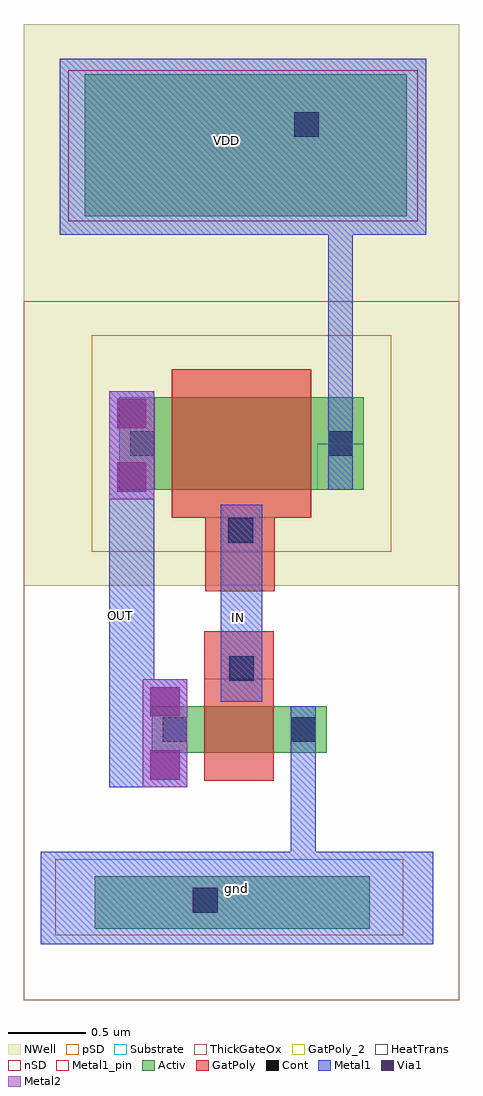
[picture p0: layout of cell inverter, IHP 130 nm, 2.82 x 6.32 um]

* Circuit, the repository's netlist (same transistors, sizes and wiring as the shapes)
* Extracted by KLayout with SG13G2 LVS runset on : 04/03/2026 15:00

.SUBCKT inverter gnd VDD OUT IN
M$1 OUT IN gnd gnd sg13_hv_nmos L=0.45u W=0.3u AS=0.102p AD=0.102p PS=1.28u
+ PD=1.28u
M$2 OUT IN VDD VDD sg13_hv_pmos L=0.9u W=0.6u AS=0.204p AD=0.204p PS=1.88u
+ PD=1.88u
.ENDS inverter

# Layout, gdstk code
from math import pi, radians
import gdstk
lib = gdstk.Library(unit=1e-6, precision=1e-09)
def R(c, l, rs):  # rectangles x0, y0, x1, y1
    for r in rs: c.add(gdstk.rectangle(r[:2], r[2:], *l))
def P(c, l, *ps):  # polygons
    for p in ps: c.add(gdstk.Polygon(p, *l))
Activ = (1, 0)
GatPoly = (5, 0)
GatPoly_2 = (5, 2)
Cont = (6, 0)
nSD = (7, 0)
Metal1 = (8, 0)
Metal1_pin = (8, 2)
Metal2 = (10, 0)
pSD = (14, 0)
Via1 = (19, 0)
NWell = (31, 0)
Substrate = (40, 0)
ThickGateOx = (44, 0)
HeatTrans = (51, 0)

pmoshv = lib.new_cell('pmosHV')
R(pmoshv, Activ, [(0,0,0.3,0.3), (0,0,1.58,0.6), (1.28,0,1.58,0.3)])
R(pmoshv, GatPoly, [(0.34,-0.18,1.24,0.78)])
R(pmoshv, GatPoly_2, [(0.34,-0.18,1.24,0.78)])
R(pmoshv, Cont, [(0.07,0.22,0.23,0.38), (1.35,0.22,1.51,0.38)])
R(pmoshv, Metal1, [(0.07,0,0.23,0.6), (1.35,0,1.51,0.6)])
R(pmoshv, Metal1_pin, [(0.07,0,0.23,0.6), (1.35,0,1.51,0.6)])
R(pmoshv, pSD, [(-0.18,-0.4,1.76,1)])
R(pmoshv, NWell, [(-0.62,-0.62,2.2,1.22)])
R(pmoshv, Substrate, [(1.28,0,1.58,0.3)])
R(pmoshv, ThickGateOx, [(-0.62,-0.62,2.2,1.22)])
R(pmoshv, HeatTrans, [(0.34,-0.18,1.24,0.78)])
pmoshv.add(gdstk.Label('pmosHV', (0.79,0.3), layer=63, texttype=0))
pmoshv.add(gdstk.Label('pmos', (0.79,0.3), layer=51, texttype=0))

via_stack_1 = lib.new_cell('via_stack$1')
R(via_stack_1, Metal1, [(-0.145,-0.35,0.145,0.35)])
R(via_stack_1, Metal2, [(-0.145,-0.35,0.145,0.35)])
R(via_stack_1, Via1, [(-0.095,-0.3,0.095,-0.11), (-0.095,0.11,0.095,0.3)])

nmoshv = lib.new_cell('nmosHV')
R(nmoshv, Activ, [(0,0,0.3,0.3), (0,0,1.13,0.3), (0.83,0,1.13,0.3)])
R(nmoshv, GatPoly, [(0.34,-0.18,0.79,0.48)])
R(nmoshv, GatPoly_2, [(0.34,-0.18,0.79,0.48)])
R(nmoshv, Cont, [(0.07,0.07,0.23,0.23), (0.9,0.07,1.06,0.23)])
R(nmoshv, Metal1, [(0.07,0,0.23,0.3), (0.9,0,1.06,0.3)])
R(nmoshv, Metal1_pin, [(0.07,0,0.23,0.3), (0.9,0,1.06,0.3)])
R(nmoshv, ThickGateOx, [(-0.27,-0.52,1.4,0.82)])
R(nmoshv, HeatTrans, [(0.34,-0.18,0.79,0.48)])
nmoshv.add(gdstk.Label('nmosHV', (0.565,0.15), layer=63, texttype=0))
nmoshv.add(gdstk.Label('nmosHV', (0.565,0.15), layer=51, texttype=0))

inverter = lib.new_cell('inverter')
R(inverter, Activ, [(0.745,-0.56,2.525,-0.22), (0.68,4.05,2.765,4.97)])
R(inverter, GatPoly, [(1.455,1.06,1.905,1.365), (1.46,1.625,1.91,2.155), (1.5,1.785,1.86,2.1)])
R(inverter, Cont, [(1.38,-0.455,1.54,-0.295), (1.615,1.045,1.775,1.205), (1.61,1.94,1.77,2.1), (2.035,4.565,2.195,4.725)])
R(inverter, nSD, [(0.575,4.02,2.835,4.995)])
R(inverter, Metal1, [(1.56,0.91,1.83,2.185)])
P(inverter, Metal1, [(0.395,-0.66),(0.395,-0.06),(2.015,-0.06),(2.015,0.88),(2.175,0.88),(2.175,-0.06),(2.935,-0.06),(2.935,-0.66)],
  [(2.255,2.28),(2.255,3.93),(0.52,3.93),(0.52,5.07),(2.89,5.07),(2.89,3.93),(2.415,3.93),(2.415,2.28)],
  [(0.84,0.355),(0.84,2.22),(1.13,2.22),(1.13,1.035),(1.065,1.035),(1.065,0.355)])
R(inverter, Metal1_pin, [(1.56,0.91,1.83,2.185)])
P(inverter, Metal1_pin, [(2.255,2.28),(2.255,3.93),(0.52,3.93),(0.52,5.07),(2.89,5.07),(2.89,3.93),(2.415,3.93),(2.415,2.28)],
  [(0.84,0.355),(0.84,2.92),(1.13,2.92),(1.13,1.055),(1.345,1.055),(1.345,0.355)],
  [(0.395,-0.66),(0.395,-0.06),(2.015,-0.06),(2.015,0.88),(2.175,0.88),(2.175,-0.06),(2.935,-0.06),(2.935,-0.66)])
R(inverter, pSD, [(0.49,-0.6,2.74,-0.11)])
R(inverter, NWell, [(0.285,3.5,3.105,5.295)])
R(inverter, ThickGateOx, [(0.285,-1.02,3.105,1.66)])
inverter.add(gdstk.Reference(pmoshv, (0.905,2.28)))
inverter.add(gdstk.Reference(via_stack_1, (1.2,0.705)))
inverter.add(gdstk.Reference(via_stack_1, (0.985,2.57)))
inverter.add(gdstk.Reference(nmoshv, (2.245,0.58), rotation=pi, x_reflection=True))
inverter.add(gdstk.Label('gnd', (1.66,-0.3), layer=8, texttype=25))
inverter.add(gdstk.Label('IN', (1.675,1.455), layer=8, texttype=25))
inverter.add(gdstk.Label('OUT', (0.915,1.47), layer=8, texttype=25))
inverter.add(gdstk.Label('VDD', (1.6,4.54), layer=8, texttype=25))

lib.write_gds('inverter.gds')
